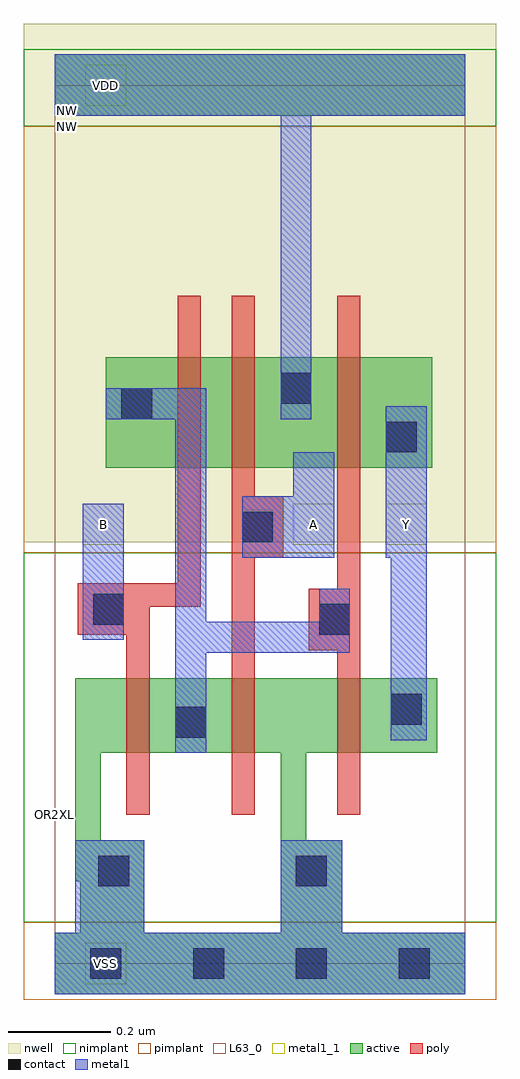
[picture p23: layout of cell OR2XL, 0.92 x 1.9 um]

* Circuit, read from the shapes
.subckt OR2XL A B NW VDD VSS Y
M1 n1 B VSS VSS nfet w=0.145u l=0.045u
M2 VSS A n1 VSS nfet w=0.145u l=0.045u
M3 Y n1 VSS VSS nfet w=0.145u l=0.045u
M4 n2 B n1 NW pfet w=0.215u l=0.045u
M5 VDD A n2 NW pfet w=0.215u l=0.045u
M6 Y n1 VDD NW pfet w=0.215u l=0.045u
.ends

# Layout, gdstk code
import gdstk
lib = gdstk.Library(unit=1e-6, precision=5e-10)
def R(c, l, rs):  # rectangles x0, y0, x1, y1
    for r in rs: c.add(gdstk.rectangle(r[:2], r[2:], *l))
def A(c, l, x, y, w, h, nx, ny, dx, dy):  # array of equal rectangles
    R(c, l, [(x+i*dx, y+j*dy, x+i*dx+w, y+j*dy+h) for i in range(nx) for j in range(ny)])
def P(c, l, *ps):  # polygons
    for p in ps: c.add(gdstk.Polygon(p, *l))
active = (1, 0)
nwell = (2, 0)
poly = (3, 0)
nimplant = (4, 0)
pimplant = (5, 0)
contact = (6, 0)
metal1 = (7, 0)
metal1_1 = (7, 1)
L63_0 = (63, 0)

or2xl = lib.new_cell('OR2XL')
R(or2xl, active, [(0,-0.06,0.8,0.06), (0.1,0.965,0.735,1.18), (0,1.65,0.8,1.77)])
P(or2xl, active, [(0.745,0.555),(0.04,0.555),(0.04,0.16),(0.05,0.16),(0.05,0.06),(0.175,0.06),(0.175,0.24),(0.09,0.24),(0.09,0.41),(0.44,0.41),(0.44,0.06),(0.56,0.06),(0.56,0.24),(0.49,0.24),(0.49,0.41),(0.745,0.41)])
R(or2xl, nwell, [(-0.06,0.82,0.86,1.83), (0,1.61,0.05,1.71)])
P(or2xl, poly, [(0.24,1.3),(0.285,1.3),(0.285,0.695),(0.185,0.695),(0.185,0.29),(0.14,0.29),(0.14,0.64),(0.045,0.64),(0.045,0.74),(0.24,0.74)],
  [(0.345,1.3),(0.39,1.3),(0.39,0.91),(0.445,0.91),(0.445,0.79),(0.39,0.79),(0.39,0.29),(0.345,0.29)],
  [(0.55,1.3),(0.595,1.3),(0.595,0.29),(0.55,0.29),(0.55,0.61),(0.495,0.61),(0.495,0.73),(0.55,0.73)])
R(or2xl, nimplant, [(-0.06,0.08,0.86,0.8), (-0.06,1.63,0.86,1.78)])
R(or2xl, pimplant, [(-0.06,-0.07,0.86,0.08), (-0.06,0.8,0.86,1.63)])
A(or2xl, contact, 0.07, -0.03, 0.06, 0.06, 4, 1, 0.2, 0)
R(or2xl, contact, [(0.085,0.15,0.145,0.21), (0.47,0.15,0.53,0.21), (0.235,0.44,0.295,0.5), (0.655,0.465,0.715,0.525), (0.515,0.64,0.575,0.7), (0.075,0.66,0.135,0.72), (0.365,0.82,0.425,0.88), (0.645,0.995,0.705,1.055), (0.13,1.06,0.19,1.12), (0.44,1.09,0.5,1.15)])
R(or2xl, metal1, [(0.04,0.06,0.175,0.24), (0.44,0.06,0.56,0.24), (0.055,0.63,0.135,0.895), (0.44,1.06,0.5,1.65)])
P(or2xl, metal1, [(0.1,1.12),(0.295,1.12),(0.295,0.665),(0.515,0.665),(0.515,0.73),(0.575,0.73),(0.575,0.605),(0.295,0.605),(0.295,0.41),(0.235,0.41),(0.235,1.06),(0.1,1.06)],
  [(0.645,1.085),(0.725,1.085),(0.725,0.435),(0.655,0.435),(0.655,0.79),(0.645,0.79)],
  [(0.465,0.995),(0.545,0.995),(0.545,0.79),(0.365,0.79),(0.365,0.91),(0.465,0.91)])
R(or2xl, metal1_1, [(0.06,-0.04,0.14,0.04), (0.055,0.815,0.135,0.895), (0.465,0.815,0.545,0.895), (0.645,0.815,0.725,0.895), (0.06,1.67,0.14,1.75)])
R(or2xl, L63_0, [(0,0,0.8,1.71)])
or2xl.add(gdstk.FlexPath([(0,0),(0.8,0)], 0.12, ends="flush", simple_path=True, layer=7, datatype=0))  # metal1
or2xl.add(gdstk.FlexPath([(0,1.71),(0.8,1.71)], 0.12, ends="flush", simple_path=True, layer=7, datatype=0))  # metal1
or2xl.add(gdstk.Label('VSS', (0.1,0), layer=7, texttype=1))
or2xl.add(gdstk.Label('B', (0.095,0.855), layer=7, texttype=1))
or2xl.add(gdstk.Label('Y', (0.685,0.855), layer=7, texttype=1))
or2xl.add(gdstk.Label('A', (0.505,0.855), layer=7, texttype=1))
or2xl.add(gdstk.Label('VDD', (0.1,1.71), layer=7, texttype=1))
or2xl.add(gdstk.Label('VSS', (0.1,0), layer=7, texttype=1))
or2xl.add(gdstk.Label('VDD', (0.1,1.71), layer=7, texttype=1))
or2xl.add(gdstk.Label('B', (0.095,0.855), layer=7, texttype=1))
or2xl.add(gdstk.Label('A', (0.505,0.855), layer=7, texttype=1))
or2xl.add(gdstk.Label('Y', (0.685,0.855), layer=7, texttype=1))
or2xl.add(gdstk.Label('OR2XL', (0,0.29), layer=63, texttype=0))
or2xl.add(gdstk.Label('NW', (0.025,1.66), layer=2, texttype=0))
or2xl.add(gdstk.Label('NW', (0.025,1.63), layer=2, texttype=0))

lib.write_gds('OR2XL.gds')
